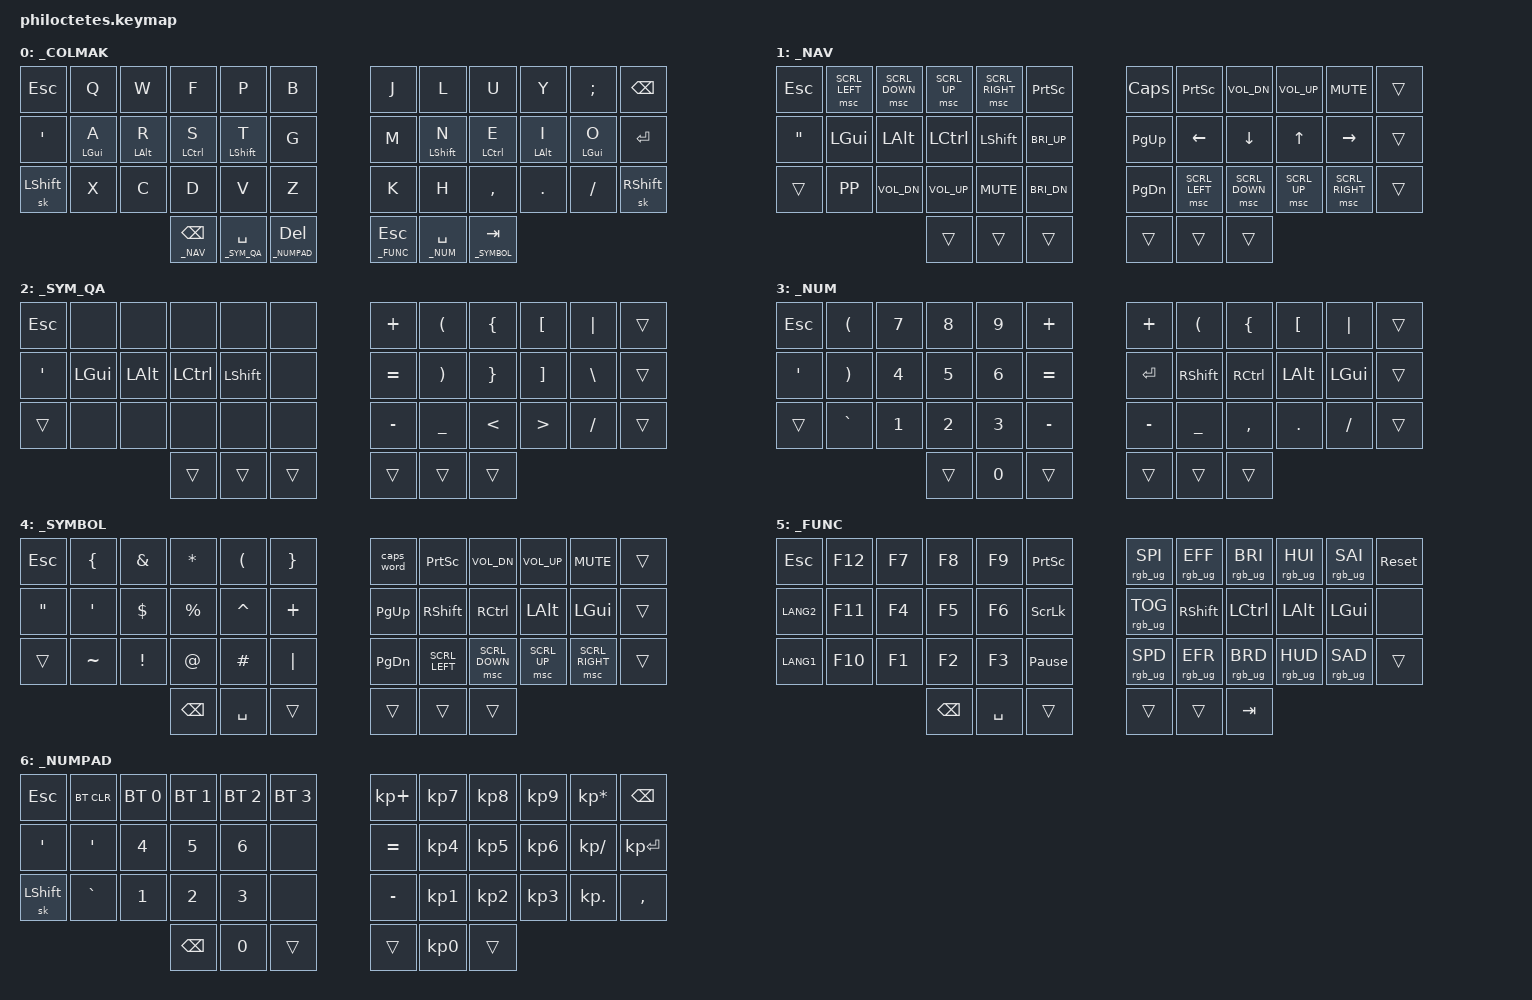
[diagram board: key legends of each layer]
/*
 * Copyright (c) 2025 Justin
 *
 * SPDX-License-Identifier: MIT
 */
#include <behaviors.dtsi>
#include <dt-bindings/zmk/keys.h>
#include <dt-bindings/zmk/bt.h>
#include <dt-bindings/zmk/rgb.h>
#include <dt-bindings/zmk/ext_power.h>

// Mouse emulation
#define ZMK_POINTING_DEFAULT_MOVE_VAL 600
#define ZMK_POINTING_DEFAULT_SCRL_VAL 10
#include <dt-bindings/zmk/pointing.h>
// This seems to be the old way... but the pointing.h file is not working
//#include <dt-bindings/zmk/mouse.h>

#define _COLMAK 0
#define _NAV    1
#define _SYM_QA 2
#define _NUM    3
#define _SYMBOL 4
#define _FUNC   5
#define _NUMPAD 6

&kscan0 {
    debounce-press-ms = <2>;
    debounce-release-ms = <3>;
};

/ {
    behaviors {
        mt_s: modifier_tap_left {
            compatible = "zmk,behavior-hold-tap";
            label = "MODIFIER_TAP_LEFT";
            #binding-cells = <2>;
            tapping-term-ms = <195>;
            quick-tap-ms = <0>;
            flavor = "tap-preferred";
            bindings = <&kp>, <&kp>;
        };
        mt_q: modifier_tap_right {
            compatible = "zmk,behavior-hold-tap";
            label = "MODIFIER_TAP_RIGHT";
            #binding-cells = <2>;
            tapping-term-ms = <185>;
            quick-tap-ms = <0>;
            flavor = "tap-preferred";
            bindings = <&kp>, <&kp>;
        };
        lt_l: layer_tap_left {
            compatible = "zmk,behavior-hold-tap";
            label = "LAYER_TAP_LEFT";
            #binding-cells = <2>;
            tapping-term-ms = <185>;
            quick-tap-ms = <0>;
            flavor = "tap-preferred";
            bindings = <&mo>, <&kp>;
        };
    };

    keymap {
        compatible = "zmk,keymap";

        _COLMAK {
            bindings = <
                &kp ESC   &kp Q          &kp W         &kp F         &kp P         &kp B         &kp J     &kp L         &kp U         &kp Y         &kp SEMI      &kp BSPC
                &kp APOS  &mt_s LGUI A   &mt_s LALT R  &mt_s LCTRL S &mt_q LSHFT T &kp G         &kp M     &mt_q LSHFT N &mt_s LCTRL E &mt_s LALT I  &mt_s LGUI O  &kp RET
                &sk LSHFT &kp X          &kp C         &kp D         &kp V         &kp Z         &kp K     &kp H         &kp COMMA     &kp DOT       &kp FSLH      &sk RSHFT
                                        &lt_l _NAV BSPC &lt_l _SYM_QA SPACE &lt_l _NUMPAD DEL     &lt _FUNC ESC &lt_l _NUM SPACE &lt_l _SYMBOL TAB
            >;
        };


        _NAV {
            bindings = <
                &kp ESC &msc SCRL_LEFT &msc SCRL_DOWN &msc SCRL_UP &msc SCRL_RIGHT &kp PSCRN    &kp CAPS &kp PSCRN &kp K_VOL_DN &kp K_VOL_UP &kp K_MUTE &trans 
                &kp DQT &kp LGUI &kp LALT &kp LCTRL &kp LSHFT &kp C_BRI_UP                             &kp PG_UP &kp LEFT &kp DOWN &kp UP &kp RIGHT &trans 
                &trans &kp K_PP &kp K_VOL_DN &kp K_VOL_UP &kp K_MUTE &kp C_BRI_DN 		&kp PG_DN &msc SCRL_LEFT &msc SCRL_DOWN &msc SCRL_UP &msc SCRL_RIGHT &trans
                                                        &trans &trans  &trans                   &trans  &trans &trans
                        >;
            };

        _SYM_QA {
            bindings = <
                &kp ESC   &none    &none    &none     &none     &none        &kp PLUS  &kp LPAR  &kp LBRC  &kp LBKT  &kp PIPE  &trans
                &kp APOS  &kp LGUI &kp LALT &kp LCTRL &kp LSHFT &none        &kp EQUAL &kp RPAR  &kp RBRC  &kp RBKT  &kp BSLH  &trans
                &trans &none    &none    &none     &none     &none        &kp MINUS &kp UNDER &kp LT    &kp GT    &kp FSLH  &trans
                                           &trans     &trans &trans       &trans    &trans    &trans
            >;
        };

        _NUM {
            bindings = <
                &kp ESC   &kp LPAR  &kp N7  &kp N8   &kp N9    &kp PLUS     &kp PLUS  &kp LPAR  &kp LBRC  &kp LBKT  &kp PIPE  &trans
                &kp APOS  &kp RPAR  &kp N4  &kp N5   &kp N6    &kp EQUAL    &kp RET   &kp RSHFT &kp RCTRL &kp LALT  &kp LGUI  &trans
                &trans &kp GRAVE &kp N1  &kp N2   &kp N3    &kp MINUS    &kp MINUS &kp UNDER &kp COMMA &kp DOT   &kp FSLH  &trans
                                           &trans &kp N0    &trans       &trans    &trans     &trans
            >;
        };

        _SYMBOL {
            bindings = <
                &kp ESC   &kp LBRC  &kp AMPS &kp STAR  &kp LPAR  &kp RBRC     &caps_word &kp PSCRN &kp C_VOL_DN &kp C_VOL_UP &kp C_MUTE &trans
                &kp DQT  &kp APOS  &kp DLLR &kp PRCNT &kp CARET &kp PLUS     &kp PG_UP  &kp RSHFT &kp RCTRL    &kp LALT     &kp LGUI   &trans
                &trans &kp TILDE &kp EXCL &kp AT    &kp HASH  &kp PIPE     &kp PG_DN  &kp SCRL_LEFT &msc SCRL_DOWN &msc SCRL_UP &msc SCRL_RIGHT &trans
                                            &kp BSPC  &kp SPACE &trans       &trans     &trans  &trans
            >;
        };

        _FUNC {
            bindings = <
                &kp ESC   &kp F12   &kp F7   &kp F8    &kp F9    &kp PSCRN        &rgb_ug RGB_SPI &rgb_ug RGB_EFF &rgb_ug RGB_BRI &rgb_ug RGB_HUI &rgb_ug RGB_SAI &sys_reset
                &kp LANG2 &kp F11   &kp F4   &kp F5    &kp F6    &kp SLCK         &rgb_ug RGB_TOG &kp RSHFT &kp LCTRL   &kp LALT    &kp LGUI    &none
                &kp LANG1 &kp F10   &kp F1   &kp F2    &kp F3    &kp PAUSE_BREAK &rgb_ug RGB_SPD &rgb_ug RGB_EFR &rgb_ug RGB_BRD &rgb_ug RGB_HUD &rgb_ug RGB_SAD &trans
                                            &kp BSPC  &kp SPACE &trans        &trans     &trans &kp TAB
            >;
        };

        _NUMPAD {
            bindings = <
                &kp ESC   &bt BT_CLR &bt BT_SEL 0 &bt BT_SEL 1 &bt BT_SEL 2 &bt BT_SEL 3 &kp KP_PLUS &kp KP_N7 &kp KP_N8 &kp KP_N9 &kp KP_MULTIPLY &kp BSPC
                &kp APOS  &kp APOS  &kp N4   &kp N5    &kp N6    &none        &kp EQUAL   &kp KP_N4 &kp KP_N5 &kp KP_N6 &kp KP_DIVIDE   &kp KP_ENTER
                &sk LSHFT &kp GRAVE &kp N1   &kp N2    &kp N3    &none        &kp MINUS   &kp KP_N1 &kp KP_N2 &kp KP_N3 &kp KP_DOT      &kp COMMA
                                            &kp BSPC  &kp N0    &trans       &trans      &kp KP_N0 &trans
            >;
        };



    };
};
